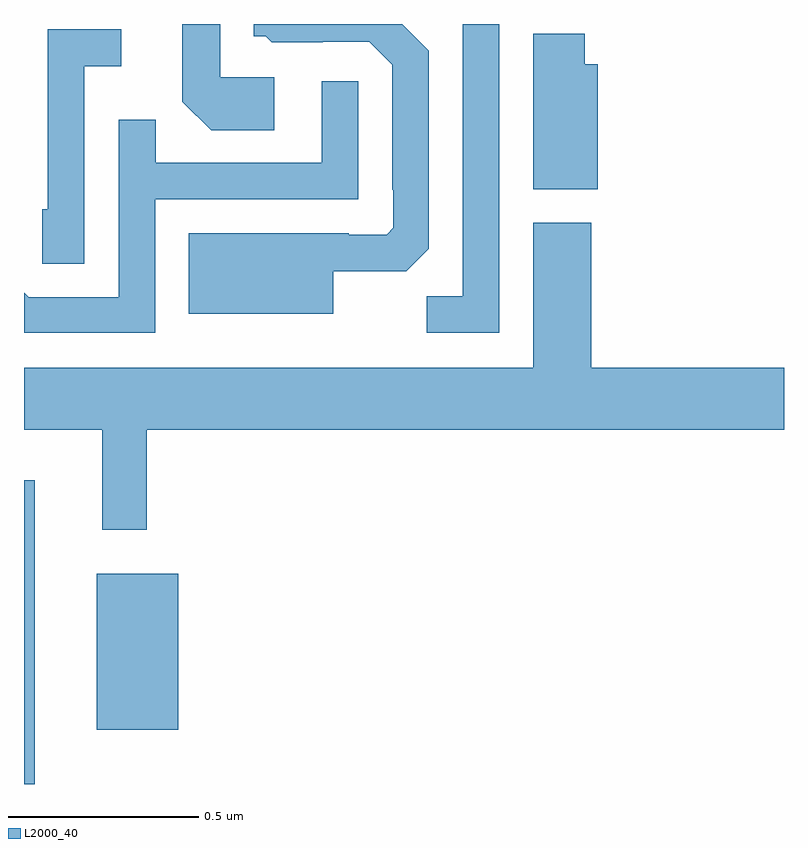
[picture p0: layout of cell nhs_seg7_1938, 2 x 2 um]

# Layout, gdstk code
import gdstk
lib = gdstk.Library(unit=1e-6, precision=1e-09)
def R(c, l, rs):  # rectangles x0, y0, x1, y1
    for r in rs: c.add(gdstk.rectangle(r[:2], r[2:], *l))
def P(c, l, *ps):  # polygons
    for p in ps: c.add(gdstk.Polygon(p, *l))
L2000_40 = (2000, 40)

nhs_seg7_1938 = lib.new_cell('nhs_seg7_1938')
R(nhs_seg7_1938, L2000_40, [(138,1017,138.028,1017.799), (138.191,1017.143,138.406,1017.553)])
P(nhs_seg7_1938, L2000_40, [(138.658,1018.86),(138.516,1018.86),(138.516,1019),(138.417,1019),(138.417,1018.796),(138.493,1018.72),(138.658,1018.72)],
  [(139.251,1019),(139.155,1019),(139.155,1018.283),(139.06,1018.283),(139.06,1018.188),(139.251,1018.188)],
  [(138.814,1018.349),(139.006,1018.349),(139.065,1018.408),(139.065,1018.93),(138.996,1019),(138.605,1019),(138.605,1018.968),(138.636,1018.968),(138.652,1018.952),(138.786,1018.952),(138.786,1018.953),(138.909,1018.953),(138.969,1018.893),(138.969,1018.564),(138.972,1018.564),(138.972,1018.464),(138.954,1018.446),(138.854,1018.446),(138.854,1018.45),(138.434,1018.45),(138.434,1018.238),(138.814,1018.238)],
  [(138.159,1018.889),(138.256,1018.889),(138.256,1018.986),(138.063,1018.986),(138.063,1018.512),(138.048,1018.512),(138.048,1018.369),(138.159,1018.369)],
  [(139.51,1018.894),(139.475,1018.894),(139.475,1018.975),(139.34,1018.975),(139.34,1018.565),(139.51,1018.565)],
  [(138.345,1018.539),(138.879,1018.539),(138.879,1018.849),(138.783,1018.849),(138.783,1018.635),(138.347,1018.635),(138.347,1018.748),(138.249,1018.748),(138.249,1018.281),(138.012,1018.281),(138,1018.293),(138,1018.188),(138.345,1018.188)],
  [(138.323,1017.932),(140,1017.932),(140,1018.096),(139.493,1018.096),(139.493,1018.477),(139.34,1018.477),(139.34,1018.096),(138,1018.096),(138,1017.932),(138.206,1017.932),(138.206,1017.669),(138.323,1017.669)])

lib.write_gds('nhs_seg7_1938.gds')
